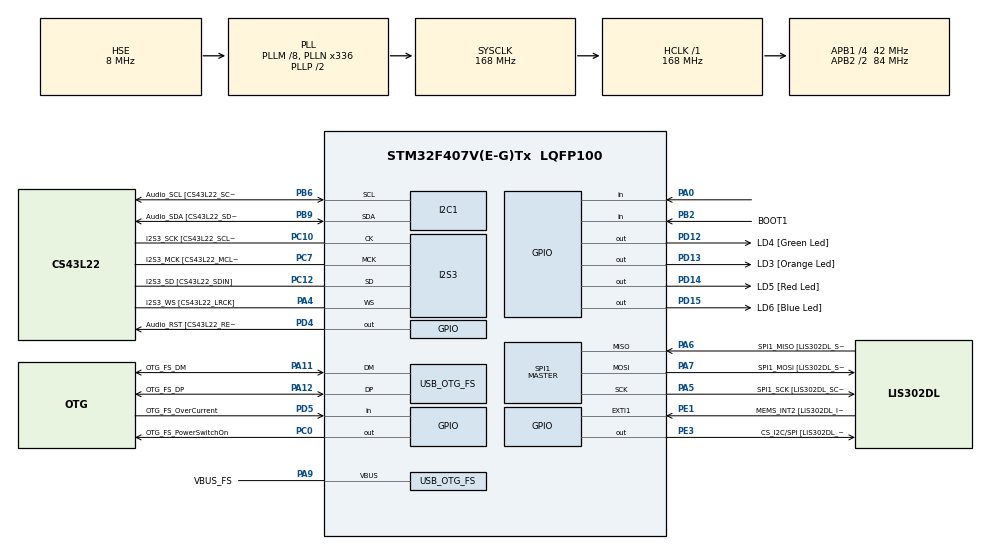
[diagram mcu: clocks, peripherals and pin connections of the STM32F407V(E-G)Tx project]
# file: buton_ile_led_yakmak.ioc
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I2S3.AudioFreq-Half_Duplex_Master=I2S_AUDIOFREQ_96K
I2S3.ErrorAudioFreq=-2.34 %
I2S3.ErrorAudioFreq-Half_Duplex_Master=0.8 %
I2S3.FullDuplexMode=I2S_FULLDUPLEXMODE_DISABLE
I2S3.Instance=SPI$Index
I2S3.RealAudioFreq=93.75 KHz
I2S3.RealAudioFreq-Half_Duplex_Master=96.774 KHz
I2S3.VirtualMode=I2S_MODE_MASTER
Mcu.Family=STM32F4
Mcu.Name=STM32F407V(E-G)Tx
Mcu.Package=LQFP100
NVIC.OTG_FS_IRQn=true\:0\:0\:false\:false\:true\:true\:true\:true
NVIC.PriorityGroup=NVIC_PRIORITYGROUP_0
PA0-WKUP.Signal=GPIO_Input
PA10.GPIO_Label=OTG_FS_ID
PA10.GPIO_Mode=GPIO_MODE_AF_PP
PA10.GPIO_PuPd=GPIO_NOPULL
PA10.GPIO_Speed=GPIO_SPEED_FREQ_LOW
PA10.Signal=USB_OTG_FS_ID
PA11.GPIO_Label=OTG_FS_DM
PA11.GPIO_Mode=GPIO_MODE_AF_PP
PA11.GPIO_PuPd=GPIO_NOPULL
PA11.GPIO_Speed=GPIO_SPEED_FREQ_LOW
PA11.Mode=Host_Only
PA11.Signal=USB_OTG_FS_DM
PA12.GPIO_Label=OTG_FS_DP
PA12.GPIO_Mode=GPIO_MODE_AF_PP
PA12.GPIO_PuPd=GPIO_NOPULL
PA12.GPIO_Speed=GPIO_SPEED_FREQ_LOW
PA12.Mode=Host_Only
PA12.Signal=USB_OTG_FS_DP
PA13.GPIO_Label=SWDIO
PA13.Mode=Serial_Wire
PA13.Signal=SYS_JTMS-SWDIO
PA14.GPIO_Label=SWCLK
PA14.Mode=Serial_Wire
PA14.Signal=SYS_JTCK-SWCLK
PA4.GPIO_Label=I2S3_WS [CS43L22_LRCK]
PA4.GPIO_Mode=GPIO_MODE_AF_PP
PA4.GPIO_PuPd=GPIO_NOPULL
PA4.GPIO_Speed=GPIO_SPEED_FREQ_LOW
PA4.Mode=Half_Duplex_Master
PA4.Signal=I2S3_WS
PA5.GPIO_Label=SPI1_SCK [LIS302DL_SCL/SPC]
PA5.GPIO_Mode=GPIO_MODE_AF_PP
PA5.GPIO_PuPd=GPIO_NOPULL
PA5.GPIO_Speed=GPIO_SPEED_FREQ_LOW
PA5.Mode=Full_Duplex_Master
PA5.Signal=SPI1_SCK
PA6.GPIO_Label=SPI1_MISO [LIS302DL_SDO]
PA6.GPIO_Mode=GPIO_MODE_AF_PP
PA6.GPIO_PuPd=GPIO_NOPULL
PA6.GPIO_Speed=GPIO_SPEED_FREQ_LOW
PA6.Mode=Full_Duplex_Master
PA6.Signal=SPI1_MISO
PA7.GPIO_Label=SPI1_MOSI [LIS302DL_SDA/SDI/SDO]
PA7.GPIO_Mode=GPIO_MODE_AF_PP
PA7.GPIO_PuPd=GPIO_NOPULL
PA7.GPIO_Speed=GPIO_SPEED_FREQ_LOW
PA7.Mode=Full_Duplex_Master
PA7.Signal=SPI1_MOSI
PA9.GPIO_Label=VBUS_FS
PA9.GPIO_Mode=GPIO_MODE_INPUT
PA9.GPIO_PuPd=GPIO_NOPULL
PA9.Mode=Activate_VBUS
PA9.Signal=USB_OTG_FS_VBUS
PB10.GPIO_Label=CLK_IN [MP45DT02_CLK]
PB10.GPIO_Mode=GPIO_MODE_AF_PP
PB10.GPIO_PuPd=GPIO_NOPULL
PB10.GPIO_Speed=GPIO_SPEED_FREQ_LOW
PB10.Signal=I2S2_CK
PB2.GPIO_Label=BOOT1
PB2.GPIO_Mode=GPIO_MODE_INPUT
PB2.GPIO_PuPd=GPIO_NOPULL
PB2.Signal=GPIO_Input
PB3.GPIO_Label=SWO
PB3.Signal=SYS_JTDO-SWO
PB6.GPIO_Label=Audio_SCL [CS43L22_SCL]
PB6.GPIO_Mode=GPIO_MODE_AF_OD
PB6.GPIO_Pu=GPIO_PULLUP
PB6.GPIO_PuPd=GPIO_NOPULL
PB6.GPIO_Speed=GPIO_SPEED_FREQ_LOW
PB6.Mode=I2C
PB6.Signal=I2C1_SCL
PB9.GPIO_Label=Audio_SDA [CS43L22_SDA]
PB9.GPIO_Mode=GPIO_MODE_AF_OD
PB9.GPIO_Pu=GPIO_PULLUP
PB9.GPIO_PuPd=GPIO_NOPULL
PB9.GPIO_Speed=GPIO_SPEED_FREQ_LOW
PB9.Mode=I2C
PB9.Signal=I2C1_SDA
PC0.GPIO_Label=OTG_FS_PowerSwitchOn
PC0.GPIO_PuPd=GPIO_NOPULL
PC0.GPIO_Speed=GPIO_SPEED_FREQ_LOW
PC0.PinState=GPIO_PIN_SET
PC0.Signal=GPIO_Output
PC10.GPIO_Label=I2S3_SCK [CS43L22_SCLK]
PC10.GPIO_Mode=GPIO_MODE_AF_PP
PC10.GPIO_PuPd=GPIO_NOPULL
PC10.GPIO_Speed=GPIO_SPEED_FREQ_LOW
PC10.Mode=Half_Duplex_Master
PC10.Signal=I2S3_CK
PC12.GPIO_Label=I2S3_SD [CS43L22_SDIN]
PC12.GPIO_Mode=GPIO_MODE_AF_PP
PC12.GPIO_PuPd=GPIO_NOPULL
PC12.GPIO_Speed=GPIO_SPEED_FREQ_LOW
PC12.Mode=Half_Duplex_Master
PC12.Signal=I2S3_SD
PC14-OSC32_IN.GPIO_Label=PC14-OSC32_IN
PC14-OSC32_IN.Mode=LSE-External-Oscillator
PC14-OSC32_IN.Signal=RCC_OSC32_IN
PC15-OSC32_OUT.GPIO_Label=PC15-OSC32_OUT
PC15-OSC32_OUT.Mode=LSE-External-Oscillator
PC15-OSC32_OUT.Signal=RCC_OSC32_OUT
PC3.GPIO_Label=PDM_OUT [MP45DT02_DOUT]
PC3.GPIO_Mode=GPIO_MODE_AF_PP
PC3.GPIO_PuPd=GPIO_NOPULL
PC3.GPIO_Speed=GPIO_SPEED_FREQ_LOW
PC3.Signal=I2S2_SD
PC7.GPIO_Label=I2S3_MCK [CS43L22_MCLK]
PC7.GPIO_Mode=GPIO_MODE_AF_PP
PC7.GPIO_PuPd=GPIO_NOPULL
PC7.GPIO_Speed=GPIO_SPEED_FREQ_LOW
PC7.Mode=Master_Clock_Activated
PC7.Signal=I2S3_MCK
PD12.GPIO_Label=LD4 [Green Led]
PD12.GPIO_PuPd=GPIO_NOPULL
PD12.GPIO_Speed=GPIO_SPEED_FREQ_LOW
PD12.Signal=GPIO_Output
PD13.GPIO_Label=LD3 [Orange Led]
PD13.GPIO_PuPd=GPIO_NOPULL
PD13.GPIO_Speed=GPIO_SPEED_FREQ_LOW
PD13.Signal=GPIO_Output
PD14.GPIO_Label=LD5 [Red Led]
PD14.GPIO_PuPd=GPIO_NOPULL
PD14.GPIO_Speed=GPIO_SPEED_FREQ_LOW
PD14.Signal=GPIO_Output
PD15.GPIO_Label=LD6 [Blue Led]
PD15.GPIO_PuPd=GPIO_NOPULL
PD15.GPIO_Speed=GPIO_SPEED_FREQ_LOW
PD15.Signal=GPIO_Output
PD4.GPIO_Label=Audio_RST [CS43L22_RESET]
PD4.GPIO_PuPd=GPIO_NOPULL
PD4.GPIO_Speed=GPIO_SPEED_FREQ_LOW
PD4.Signal=GPIO_Output
PD5.GPIO_Label=OTG_FS_OverCurrent
PD5.GPIO_Mode=GPIO_MODE_INPUT
PD5.GPIO_PuPd=GPIO_NOPULL
PD5.Signal=GPIO_Input
PE1.GPIO_Label=MEMS_INT2 [LIS302DL_INT2]
PE1.GPIO_ModeDefaultEXTI=GPIO_MODE_EVT_RISING
PE1.GPIO_PuPd=GPIO_NOPULL
PE1.Signal=GPXTI1
PE3.GPIO_Label=CS_I2C/SPI [LIS302DL_CS_I2C/SPI]
PE3.GPIO_PuPd=GPIO_NOPULL
PE3.GPIO_Speed=GPIO_SPEED_FREQ_LOW
PE3.Signal=GPIO_Output
PH0-OSC_IN.GPIO_Label=PH0-OSC_IN
PH0-OSC_IN.Mode=HSE-External-Oscillator
PH0-OSC_IN.Signal=RCC_OSC_IN
PH1-OSC_OUT.GPIO_Label=PH1-OSC_OUT
PH1-OSC_OUT.Mode=HSE-External-Oscillator
PH1-OSC_OUT.Signal=RCC_OSC_OUT
ProjectManager.HeapSize=0x200
ProjectManager.StackSize=0x400
ProjectManager.TargetToolchain=STM32CubeIDE
RCC.48MHZClocksFreq_Value=48000000
RCC.AHBFreq_Value=168000000
RCC.APB1CLKDivider=RCC_HCLK_DIV4
RCC.APB1Freq_Value=42000000
RCC.APB1TimFreq_Value=84000000
RCC.APB2CLKDivider=RCC_HCLK_DIV2
RCC.APB2Freq_Value=84000000
RCC.APB2TimFreq_Value=168000000
RCC.CortexFreq_Value=168000000
RCC.HCLKFreq_Value=168000000
RCC.HSE_VALUE=8000000
RCC.HSI_VALUE=16000000
RCC.PLLM=8
RCC.PLLN=336
RCC.PLLQ=7
RCC.SYSCLKFreq_VALUE=168000000
RCC.SYSCLKSource=RCC_SYSCLKSOURCE_PLLCLK
RCC.VCOOutputFreq_Value=336000000
SPI1.BaudRatePrescaler-Full_Duplex_Master=SPI_BAUDRATEPRESCALER_2
SPI1.CalculateBaudRate-Full_Duplex_Master=42.0 MBits/s
SPI1.Direction=SPI_DIRECTION_2LINES
SPI1.Mode=SPI_MODE_MASTER
SPI1.Mode-Full_Duplex_Master=SPI_MODE_MASTER
SPI1.VirtualType=VM_MASTER
USB_HOST.BSP.number=1
USB_HOST.USBH_HandleTypeDef-CDC_FS=hUsbHostFS
USB_HOST.VirtualModeFS=Cdc
USB_HOST0.BSP.STBoard=false
USB_HOST0.BSP.api=Unknown
USB_HOST0.BSP.instance=PC0
USB_HOST0.BSP.ip=GPIO
USB_HOST0.BSP.mode=Output
USB_HOST0.BSP.name=Drive_VBUS_FS
USB_HOST0.BSP.solution=PC0
USB_OTG_FS.VirtualMode=Host_Only
USB_OTG_FS.phy_itface=HCD_PHY_EMBEDDED
VP_USB_HOST_VS_USB_HOST_CDC_FS.Mode=CDC_FS
board=STM32F407G-DISC1

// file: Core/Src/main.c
/* USER CODE BEGIN Header */
/**
  ******************************************************************************
  * @file           : main.c
  * @brief          : Main program body
  ******************************************************************************
  * @attention
  *
  * Copyright (c) 2026 STMicroelectronics.
  * All rights reserved.
  *
  * This software is licensed under terms that can be found in the LICENSE file
  * in the root directory of this software component.
  * If no LICENSE file comes with this software, it is provided AS-IS.
  *
  ******************************************************************************
  */
/* USER CODE END Header */
#include "main.h"
#include "usb_host.h"

I2C_HandleTypeDef hi2c1;

I2S_HandleTypeDef hi2s3;

SPI_HandleTypeDef hspi1;

void SystemClock_Config(void);
static void MX_GPIO_Init(void);
static void MX_I2C1_Init(void);
static void MX_I2S3_Init(void);
static void MX_SPI1_Init(void);
void MX_USB_HOST_Process(void);

int main(void)
{

  /* MCU Configuration--------------------------------------------------------*/

  /* Reset of all peripherals, Initializes the Flash interface and the Systick. */
  HAL_Init();

  /* Configure the system clock */
  SystemClock_Config();

  /* Initialize all configured peripherals */
  MX_GPIO_Init();
  MX_I2C1_Init();
  MX_I2S3_Init();
  MX_SPI1_Init();
  MX_USB_HOST_Init();

  /* Infinite loop */
  /* USER CODE BEGIN WHILE */
  uint8_t counter = 0;
  while (1)
  {
    /* USER CODE END WHILE */
    MX_USB_HOST_Process();

    /* USER CODE BEGIN 3 */

     if((HAL_GPIO_ReadPin(GPIOA,GPIO_PIN_0)) == 1 && counter == 0){
   	  HAL_Delay(150);
   	  counter++;
   	  HAL_GPIO_WritePin(GPIOD,GPIO_PIN_12,GPIO_PIN_SET);

     }

     else if((HAL_GPIO_ReadPin(GPIOA,GPIO_PIN_0)) == 1 && counter == 1){
   	  HAL_Delay(150);
   	  counter++;
   	  HAL_GPIO_WritePin(GPIOD,GPIO_PIN_12,GPIO_PIN_RESET);
   	  HAL_GPIO_WritePin(GPIOD,GPIO_PIN_13,GPIO_PIN_SET);

     }

     else if((HAL_GPIO_ReadPin(GPIOA,GPIO_PIN_0)) == 1 && counter == 2){
   	  HAL_Delay(150);
   	  counter++;
   	  HAL_GPIO_WritePin(GPIOD,GPIO_PIN_13,GPIO_PIN_RESET);
   	  HAL_GPIO_WritePin(GPIOD,GPIO_PIN_14,GPIO_PIN_SET);

     }

     else if((HAL_GPIO_ReadPin(GPIOA,GPIO_PIN_0)) == 1 && counter == 3){
   	  HAL_Delay(150);
   	  counter++;
   	  HAL_GPIO_WritePin(GPIOD,GPIO_PIN_14,GPIO_PIN_RESET);
   	  HAL_GPIO_WritePin(GPIOD,GPIO_PIN_15,GPIO_PIN_SET);
     }
     if(counter == 4){
   	  HAL_GPIO_WritePin(GPIOD,GPIO_PIN_15,GPIO_PIN_RESET);
   	  for(uint8_t i = 0; i < 3 ; i++){
   		  HAL_GPIO_WritePin(GPIOD,GPIO_PIN_12,GPIO_PIN_SET);
   		  HAL_GPIO_WritePin(GPIOD,GPIO_PIN_13,GPIO_PIN_SET);
   		  HAL_GPIO_WritePin(GPIOD,GPIO_PIN_14,GPIO_PIN_SET);
   		  HAL_GPIO_WritePin(GPIOD,GPIO_PIN_15,GPIO_PIN_SET);
   		  HAL_Delay(1000);
   		  HAL_GPIO_WritePin(GPIOD,GPIO_PIN_12,GPIO_PIN_RESET);
   		  HAL_GPIO_WritePin(GPIOD,GPIO_PIN_13,GPIO_PIN_RESET);
   		  HAL_GPIO_WritePin(GPIOD,GPIO_PIN_14,GPIO_PIN_RESET);
   		  HAL_GPIO_WritePin(GPIOD,GPIO_PIN_15,GPIO_PIN_RESET);
   		  HAL_Delay(1000);
   	  }
   	  counter = 0;
     }
  }
  /* USER CODE END 3 */
}

void SystemClock_Config(void)
{
  RCC_OscInitTypeDef RCC_OscInitStruct = {0};
  RCC_ClkInitTypeDef RCC_ClkInitStruct = {0};

  /** Configure the main internal regulator output voltage
  */
  __HAL_RCC_PWR_CLK_ENABLE();
  __HAL_PWR_VOLTAGESCALING_CONFIG(PWR_REGULATOR_VOLTAGE_SCALE1);

  /** Initializes the RCC Oscillators according to the specified parameters
  * in the RCC_OscInitTypeDef structure.
  */
  RCC_OscInitStruct.OscillatorType = RCC_OSCILLATORTYPE_HSE;
  RCC_OscInitStruct.HSEState = RCC_HSE_ON;
  RCC_OscInitStruct.PLL.PLLState = RCC_PLL_ON;
  RCC_OscInitStruct.PLL.PLLSource = RCC_PLLSOURCE_HSE;
  RCC_OscInitStruct.PLL.PLLM = 8;
  RCC_OscInitStruct.PLL.PLLN = 336;
  RCC_OscInitStruct.PLL.PLLP = RCC_PLLP_DIV2;
  RCC_OscInitStruct.PLL.PLLQ = 7;
  if (HAL_RCC_OscConfig(&RCC_OscInitStruct) != HAL_OK)
  {
    Error_Handler();
  }

  /** Initializes the CPU, AHB and APB buses clocks
  */
  RCC_ClkInitStruct.ClockType = RCC_CLOCKTYPE_HCLK|RCC_CLOCKTYPE_SYSCLK
                              |RCC_CLOCKTYPE_PCLK1|RCC_CLOCKTYPE_PCLK2;
  RCC_ClkInitStruct.SYSCLKSource = RCC_SYSCLKSOURCE_PLLCLK;
  RCC_ClkInitStruct.AHBCLKDivider = RCC_SYSCLK_DIV1;
  RCC_ClkInitStruct.APB1CLKDivider = RCC_HCLK_DIV4;
  RCC_ClkInitStruct.APB2CLKDivider = RCC_HCLK_DIV2;

  if (HAL_RCC_ClockConfig(&RCC_ClkInitStruct, FLASH_LATENCY_5) != HAL_OK)
  {
    Error_Handler();
  }
}

static void MX_I2C1_Init(void)
{

  hi2c1.Instance = I2C1;
  hi2c1.Init.ClockSpeed = 100000;
  hi2c1.Init.DutyCycle = I2C_DUTYCYCLE_2;
  hi2c1.Init.OwnAddress1 = 0;
  hi2c1.Init.AddressingMode = I2C_ADDRESSINGMODE_7BIT;
  hi2c1.Init.DualAddressMode = I2C_DUALADDRESS_DISABLE;
  hi2c1.Init.OwnAddress2 = 0;
  hi2c1.Init.GeneralCallMode = I2C_GENERALCALL_DISABLE;
  hi2c1.Init.NoStretchMode = I2C_NOSTRETCH_DISABLE;
  if (HAL_I2C_Init(&hi2c1) != HAL_OK)
  {
    Error_Handler();
  }

}

static void MX_I2S3_Init(void)
{

  hi2s3.Instance = SPI3;
  hi2s3.Init.Mode = I2S_MODE_MASTER_TX;
  hi2s3.Init.Standard = I2S_STANDARD_PHILIPS;
  hi2s3.Init.DataFormat = I2S_DATAFORMAT_16B;
  hi2s3.Init.MCLKOutput = I2S_MCLKOUTPUT_ENABLE;
  hi2s3.Init.AudioFreq = I2S_AUDIOFREQ_96K;
  hi2s3.Init.CPOL = I2S_CPOL_LOW;
  hi2s3.Init.ClockSource = I2S_CLOCK_PLL;
  hi2s3.Init.FullDuplexMode = I2S_FULLDUPLEXMODE_DISABLE;
  if (HAL_I2S_Init(&hi2s3) != HAL_OK)
  {
    Error_Handler();
  }

}

static void MX_SPI1_Init(void)
{

  /* SPI1 parameter configuration*/
  hspi1.Instance = SPI1;
  hspi1.Init.Mode = SPI_MODE_MASTER;
  hspi1.Init.Direction = SPI_DIRECTION_2LINES;
  hspi1.Init.DataSize = SPI_DATASIZE_8BIT;
  hspi1.Init.CLKPolarity = SPI_POLARITY_LOW;
  hspi1.Init.CLKPhase = SPI_PHASE_1EDGE;
  hspi1.Init.NSS = SPI_NSS_SOFT;
  hspi1.Init.BaudRatePrescaler = SPI_BAUDRATEPRESCALER_2;
  hspi1.Init.FirstBit = SPI_FIRSTBIT_MSB;
  hspi1.Init.TIMode = SPI_TIMODE_DISABLE;
  hspi1.Init.CRCCalculation = SPI_CRCCALCULATION_DISABLE;
  hspi1.Init.CRCPolynomial = 10;
  if (HAL_SPI_Init(&hspi1) != HAL_OK)
  {
    Error_Handler();
  }

}

static void MX_GPIO_Init(void)
{
  GPIO_InitTypeDef GPIO_InitStruct = {0};

  /* GPIO Ports Clock Enable */
  __HAL_RCC_GPIOE_CLK_ENABLE();
  __HAL_RCC_GPIOC_CLK_ENABLE();
  __HAL_RCC_GPIOH_CLK_ENABLE();
  __HAL_RCC_GPIOA_CLK_ENABLE();
  __HAL_RCC_GPIOB_CLK_ENABLE();
  __HAL_RCC_GPIOD_CLK_ENABLE();

  /*Configure GPIO pin Output Level */
  HAL_GPIO_WritePin(CS_I2C_SPI_GPIO_Port, CS_I2C_SPI_Pin, GPIO_PIN_RESET);

  /*Configure GPIO pin Output Level */
  HAL_GPIO_WritePin(OTG_FS_PowerSwitchOn_GPIO_Port, OTG_FS_PowerSwitchOn_Pin, GPIO_PIN_SET);

  /*Configure GPIO pin Output Level */
  HAL_GPIO_WritePin(GPIOD, LD4_Pin|LD3_Pin|LD5_Pin|LD6_Pin
                          |Audio_RST_Pin, GPIO_PIN_RESET);

  /*Configure GPIO pin : CS_I2C_SPI_Pin */
  GPIO_InitStruct.Pin = CS_I2C_SPI_Pin;
  GPIO_InitStruct.Mode = GPIO_MODE_OUTPUT_PP;
  GPIO_InitStruct.Pull = GPIO_NOPULL;
  GPIO_InitStruct.Speed = GPIO_SPEED_FREQ_LOW;
  HAL_GPIO_Init(CS_I2C_SPI_GPIO_Port, &GPIO_InitStruct);

  /*Configure GPIO pin : OTG_FS_PowerSwitchOn_Pin */
  GPIO_InitStruct.Pin = OTG_FS_PowerSwitchOn_Pin;
  GPIO_InitStruct.Mode = GPIO_MODE_OUTPUT_PP;
  GPIO_InitStruct.Pull = GPIO_NOPULL;
  GPIO_InitStruct.Speed = GPIO_SPEED_FREQ_LOW;
  HAL_GPIO_Init(OTG_FS_PowerSwitchOn_GPIO_Port, &GPIO_InitStruct);

  /*Configure GPIO pin : PDM_OUT_Pin */
  GPIO_InitStruct.Pin = PDM_OUT_Pin;
  GPIO_InitStruct.Mode = GPIO_MODE_AF_PP;
  GPIO_InitStruct.Pull = GPIO_NOPULL;
  GPIO_InitStruct.Speed = GPIO_SPEED_FREQ_LOW;
  GPIO_InitStruct.Alternate = GPIO_AF5_SPI2;
  HAL_GPIO_Init(PDM_OUT_GPIO_Port, &GPIO_InitStruct);

  /*Configure GPIO pin : PA0 */
  GPIO_InitStruct.Pin = GPIO_PIN_0;
  GPIO_InitStruct.Mode = GPIO_MODE_INPUT;
  GPIO_InitStruct.Pull = GPIO_NOPULL;
  HAL_GPIO_Init(GPIOA, &GPIO_InitStruct);

  /*Configure GPIO pin : BOOT1_Pin */
  GPIO_InitStruct.Pin = BOOT1_Pin;
  GPIO_InitStruct.Mode = GPIO_MODE_INPUT;
  GPIO_InitStruct.Pull = GPIO_NOPULL;
  HAL_GPIO_Init(BOOT1_GPIO_Port, &GPIO_InitStruct);

  /*Configure GPIO pin : CLK_IN_Pin */
  GPIO_InitStruct.Pin = CLK_IN_Pin;
  GPIO_InitStruct.Mode = GPIO_MODE_AF_PP;
  GPIO_InitStruct.Pull = GPIO_NOPULL;
  GPIO_InitStruct.Speed = GPIO_SPEED_FREQ_LOW;
  GPIO_InitStruct.Alternate = GPIO_AF5_SPI2;
  HAL_GPIO_Init(CLK_IN_GPIO_Port, &GPIO_InitStruct);

  /*Configure GPIO pins : LD4_Pin LD3_Pin LD5_Pin LD6_Pin
                           Audio_RST_Pin */
  GPIO_InitStruct.Pin = LD4_Pin|LD3_Pin|LD5_Pin|LD6_Pin
                          |Audio_RST_Pin;
  GPIO_InitStruct.Mode = GPIO_MODE_OUTPUT_PP;
  GPIO_InitStruct.Pull = GPIO_NOPULL;
  GPIO_InitStruct.Speed = GPIO_SPEED_FREQ_LOW;
  HAL_GPIO_Init(GPIOD, &GPIO_InitStruct);

  /*Configure GPIO pin : OTG_FS_OverCurrent_Pin */
  GPIO_InitStruct.Pin = OTG_FS_OverCurrent_Pin;
  GPIO_InitStruct.Mode = GPIO_MODE_INPUT;
  GPIO_InitStruct.Pull = GPIO_NOPULL;
  HAL_GPIO_Init(OTG_FS_OverCurrent_GPIO_Port, &GPIO_InitStruct);

  /*Configure GPIO pin : MEMS_INT2_Pin */
  GPIO_InitStruct.Pin = MEMS_INT2_Pin;
  GPIO_InitStruct.Mode = GPIO_MODE_EVT_RISING;
  GPIO_InitStruct.Pull = GPIO_NOPULL;
  HAL_GPIO_Init(MEMS_INT2_GPIO_Port, &GPIO_InitStruct);

}

void Error_Handler(void)
{
  __disable_irq();
  while (1)
  {
  }
}
